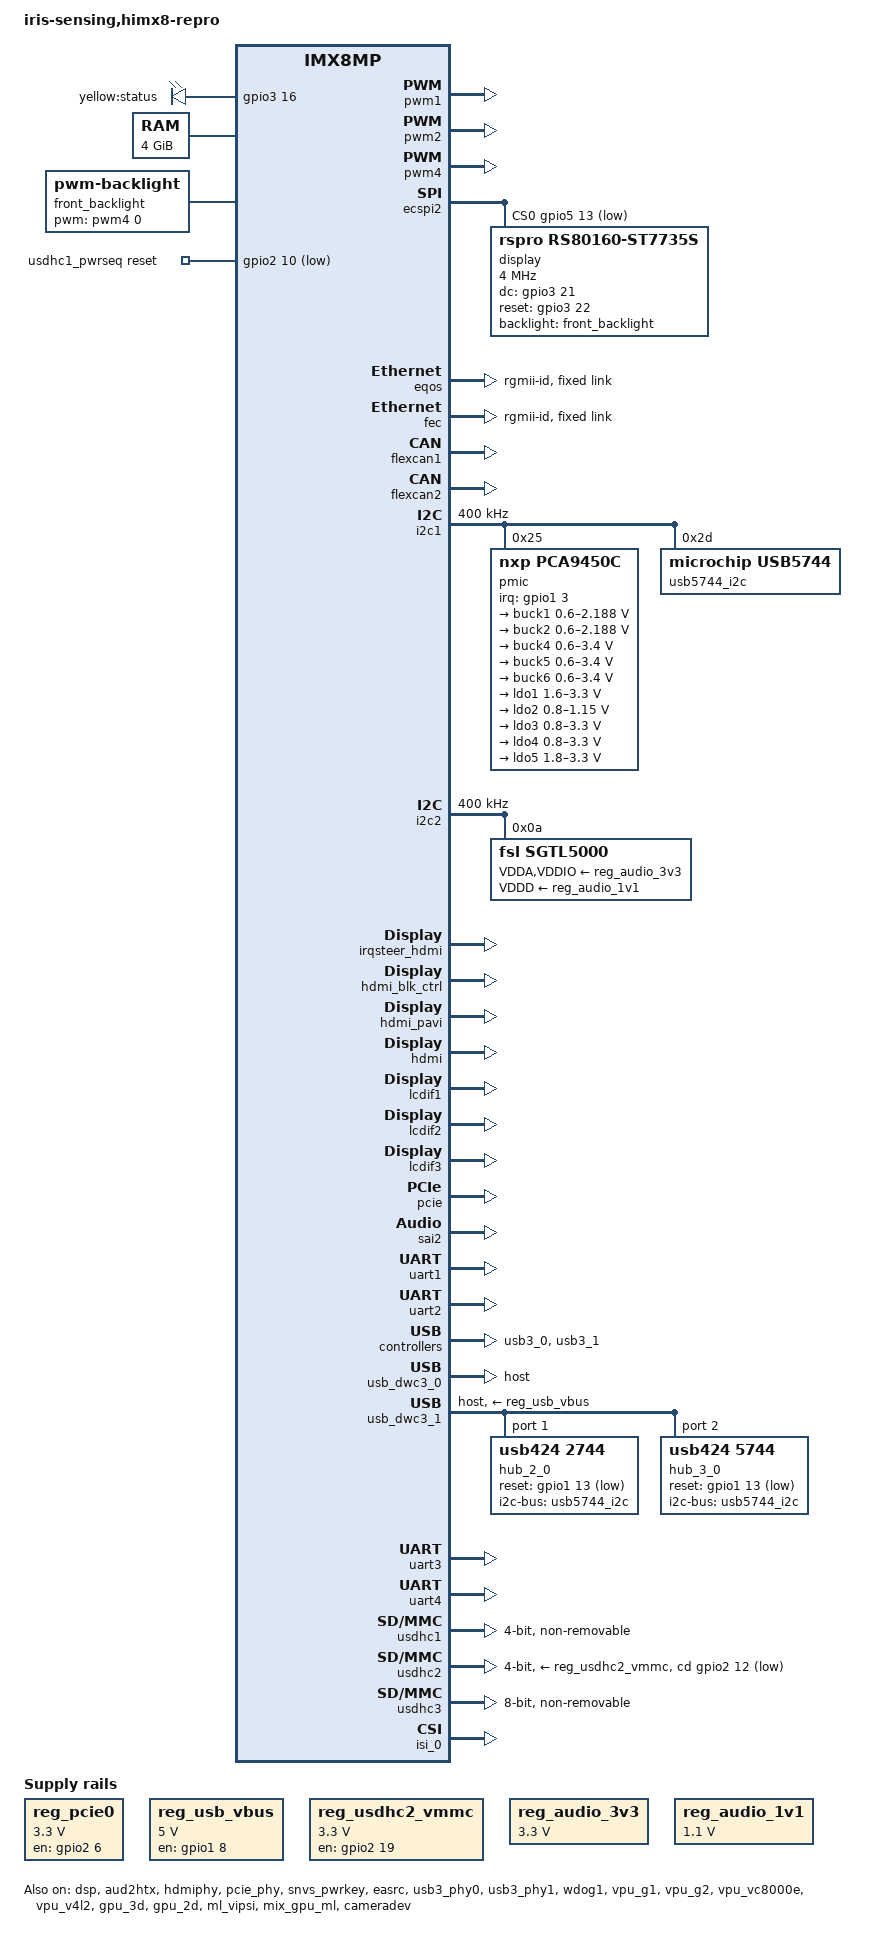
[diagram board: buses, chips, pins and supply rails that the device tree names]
// SPDX-License-Identifier: (GPL-2.0+ OR MIT)
/*
 * Copyright 2019 NXP
 */

/dts-v1/;

#include <dt-bindings/phy/phy-imx8-pcie.h>
#include <dt-bindings/usb/pd.h>
#include "imx8mp.dtsi"

/ {
	model = "iris-sensing,himx8-repro";
	compatible = "fsl,imx8mp-evk", "fsl,imx8mp";

	chosen {
		stdout-path = &uart2;
	};

	gpio-leds {
		compatible = "gpio-leds";
		pinctrl-names = "default";
		pinctrl-0 = <&pinctrl_gpio_led>;

		status {
			label = "yellow:status";
			gpios = <&gpio3 16 GPIO_ACTIVE_HIGH>;
			default-state = "on";
		};
	};

	memory@40000000 {
		device_type = "memory";
		reg = <0x0 0x40000000 0 0xc0000000>,
		      <0x1 0x00000000 0 0x40000000>;
	};

	reg_pcie0: regulator-pcie {
		compatible = "regulator-fixed";
		pinctrl-names = "default";
		pinctrl-0 = <&pinctrl_pcie0_reg>;
		regulator-name = "MPCIE_3V3";
		regulator-min-microvolt = <3300000>;
		regulator-max-microvolt = <3300000>;
		gpio = <&gpio2 6 GPIO_ACTIVE_HIGH>;
		enable-active-high;
		regulator-always-on;
	};

	reg_usb_vbus: regulator-vbus {
		compatible = "regulator-fixed";
		pinctrl-names = "default";
		pinctrl-0 = <&pinctrl_usb1_vbus>;
		regulator-name = "USB_VBUS";
		regulator-min-microvolt = <5000000>;
		regulator-max-microvolt = <5000000>;
		gpio = <&gpio1 8 GPIO_ACTIVE_HIGH>;
		enable-active-high;
		regulator-always-on;
	};

	reg_usdhc2_vmmc: regulator-usdhc2 {
		compatible = "regulator-fixed";
		pinctrl-names = "default";
		pinctrl-0 = <&pinctrl_reg_usdhc2_vmmc>;
		regulator-name = "VSD_3V3";
		regulator-min-microvolt = <3300000>;
		regulator-max-microvolt = <3300000>;
		gpio = <&gpio2 19 GPIO_ACTIVE_HIGH>;
		enable-active-high;
	};

	reg_audio_3v3: regulator-audio-3v3 {
		compatible = "regulator-fixed";
		regulator-name = "audio-3v3";
		regulator-min-microvolt = <3300000>;
		regulator-max-microvolt = <3300000>;
		regulator-always-on;
	};

	reg_audio_1v1: regulator-audio-1v1 {
		compatible = "regulator-fixed";
		regulator-name = "audio-1v1";
		regulator-min-microvolt = <1100000>;
		regulator-max-microvolt = <1100000>;
		regulator-always-on;
	};

	sound {
		compatible = "simple-audio-card";
		simple-audio-card,name = "sgtl5000";
		simple-audio-card,format = "i2s";
		simple-audio-card,mclk-fs = <256>;
		simple-audio-card,frame-master = <&dailink_cpu>;
		simple-audio-card,bitclock-master = <&dailink_cpu>;
		simple-audio-card,widgets = "Line", "Line In", "Line", "Line Out";
		simple-audio-card,routing = "LINE_IN",  "Line In", "Line Out", "LINE_OUT";

		dailink_cpu: simple-audio-card,cpu {
			sound-dai = <&sai2>;
		};

		simple-audio-card,codec {
			sound-dai = <&sgtl5000>;
		};
	};

	front_backlight: front_backlight {
		compatible = "pwm-backlight";
		pwms = <&pwm4 0 10000000 0>;
		status = "okay";

		brightness-levels = < 0  1  2  3  4  5  6  7  8  9
				     10 11 12 13 14 15 16 17 18 19
				     20 21 22 23 24 25 26 27 28 29
				     30 31 32 33 34 35 36 37 38 39
				     40 41 42 43 44 45 46 47 48 49
				     50 51 52 53 54 55 56 57 58 59
				     60 61 62 63 64 65 66 67 68 69
				     70 71 72 73 74 75 76 77 78 79
				     80 81 82 83 84 85 86 87 88 89
				     90 91 92 93 94 95 96 97 98 99
				    100>;
		default-brightness-level = <80>;
	};

	usdhc1_pwrseq: usdhc1_pwrseq {
		compatible = "mmc-pwrseq-simple";
		pinctrl-names = "default";
		pinctrl-0 = <&pinctrl_usdhc1_pwrseq>;
		reset-gpios = <&gpio2 10 GPIO_ACTIVE_LOW>;
	};
};

&A53_0 {
	cpu-supply = <&buck2>;
};

&A53_1 {
	cpu-supply = <&buck2>;
};

&A53_2 {
	cpu-supply = <&buck2>;
};

&A53_3 {
	cpu-supply = <&buck2>;
};

&dsp {
	status = "okay";
};

&pwm1 {
	pinctrl-names = "default";
	pinctrl-0 = <&pinctrl_pwm1>;
	status = "okay";
};

&pwm2 {
	pinctrl-names = "default";
	pinctrl-0 = <&pinctrl_pwm2>;
	status = "okay";
};

&pwm4 {
	pinctrl-names = "default";
	pinctrl-0 = <&pinctrl_pwm4>;
	status = "okay";
};

&aud2htx {
	status = "okay";
};

&ecspi2 {
	#address-cells = <1>;
	#size-cells = <0>;
	fsl,spi-num-chipselects = <1>;
	pinctrl-names = "default";
	pinctrl-0 = <&pinctrl_ecspi2 &pinctrl_ecspi2_cs>;
	cs-gpios = <&gpio5 13 GPIO_ACTIVE_LOW>;
	status = "okay";

	display@0 {
		reg = <0>;
		compatible = "rspro,rs80160-st7735s";
		spi-max-frequency = <4000000>;

		dc-gpios = <&gpio3 21 GPIO_ACTIVE_HIGH>;
		reset-gpios = <&gpio3 22 GPIO_ACTIVE_HIGH>;
		write-only;

		backlight = <&front_backlight>;

		width-mm = <22>;
		height-mm = <11>;

		panel-timing {
			hactive = <160>;
			vactive = <80>;
			hback-porch = <0>;
			vback-porch = <0>;
			clock-frequency = <0>;
			hfront-porch = <0>;
			hsync-len = <0>;
			vfront-porch = <0>;
			vsync-len = <0>;
		};
	};
};

&eqos {
	pinctrl-names = "default";
	pinctrl-0 = <&pinctrl_eqos>;
	phy-mode = "rgmii-id";
	status = "okay";

	fixed-link {
		speed = <1000>;
		full-duplex;
		pause;
		asym-pause;
	};
	mdio {
		compatible = "snps,dwmac-mdio";
		#address-cells = <1>;
		#size-cells = <0>;
	};
};

&fec {
	pinctrl-names = "default";
	pinctrl-0 = <&pinctrl_fec>;
	phy-mode = "rgmii-id";
	status = "okay";
	fsl,magic-packet;

	fixed-link {
		speed = <1000>;
		full-duplex;
		pause;
		asym-pause;
	};
};

&flexcan1 {
	pinctrl-names = "default";
	pinctrl-0 = <&pinctrl_flexcan1>;
	status = "okay";
};

&flexcan2 {
	pinctrl-names = "default";
	pinctrl-0 = <&pinctrl_flexcan2>;
	status = "okay";
};

&i2c1 {
	clock-frequency = <400000>;
	pinctrl-names = "default";
	pinctrl-0 = <&pinctrl_i2c1>;
	status = "okay";

	pmic@25 {
		compatible = "nxp,pca9450c";
		reg = <0x25>;
		pinctrl-names = "default";
		pinctrl-0 = <&pinctrl_pmic>;
		interrupt-parent = <&gpio1>;
		interrupts = <3 IRQ_TYPE_LEVEL_LOW>;

		regulators {
			buck1: BUCK1 {
				regulator-name = "BUCK1";
				regulator-min-microvolt = <600000>;
				regulator-max-microvolt = <2187500>;
				regulator-boot-on;
				regulator-always-on;
				regulator-ramp-delay = <3125>;
			};

			buck2: BUCK2 {
				regulator-name = "BUCK2";
				regulator-min-microvolt = <600000>;
				regulator-max-microvolt = <2187500>;
				regulator-boot-on;
				regulator-always-on;
				regulator-ramp-delay = <3125>;
				nxp,dvs-run-voltage = <950000>;
				nxp,dvs-standby-voltage = <850000>;
			};

			buck4: BUCK4{
				regulator-name = "BUCK4";
				regulator-min-microvolt = <600000>;
				regulator-max-microvolt = <3400000>;
				regulator-boot-on;
				regulator-always-on;
			};

			buck5: BUCK5{
				regulator-name = "BUCK5";
				regulator-min-microvolt = <600000>;
				regulator-max-microvolt = <3400000>;
				regulator-boot-on;
				regulator-always-on;
			};

			buck6: BUCK6 {
				regulator-name = "BUCK6";
				regulator-min-microvolt = <600000>;
				regulator-max-microvolt = <3400000>;
				regulator-boot-on;
				regulator-always-on;
			};

			ldo1: LDO1 {
				regulator-name = "LDO1";
				regulator-min-microvolt = <1600000>;
				regulator-max-microvolt = <3300000>;
				regulator-boot-on;
				regulator-always-on;
			};

			ldo2: LDO2 {
				regulator-name = "LDO2";
				regulator-min-microvolt = <800000>;
				regulator-max-microvolt = <1150000>;
				regulator-boot-on;
				regulator-always-on;
			};

			ldo3: LDO3 {
				regulator-name = "LDO3";
				regulator-min-microvolt = <800000>;
				regulator-max-microvolt = <3300000>;
				regulator-boot-on;
				regulator-always-on;
			};

			ldo4: LDO4 {
				regulator-name = "LDO4";
				regulator-min-microvolt = <800000>;
				regulator-max-microvolt = <3300000>;
				regulator-boot-on;
				regulator-always-on;
			};

			ldo5: LDO5 {
				regulator-name = "LDO5";
				regulator-min-microvolt = <1800000>;
				regulator-max-microvolt = <3300000>;
				regulator-boot-on;
				regulator-always-on;
			};
		};
	};

        usb5744_i2c: hub@2d {
                compatible = "microchip,usb5744";
                reg = <0x2d>;
        };
};

&i2c2 {
	clock-frequency = <400000>;
	pinctrl-names = "default";
	pinctrl-0 = <&pinctrl_i2c2>;
	status = "okay";

	sgtl5000: codec@a {
		compatible = "fsl,sgtl5000";
		reg = <0x0a>;
		#sound-dai-cells = <0>;
		clocks = <&audio_blk_ctrl IMX8MP_CLK_AUDIOMIX_SAI2_MCLK1>;
		clock-names = "sys_mclk";
		VDDA-supply = <&reg_audio_3v3>;
		VDDIO-supply = <&reg_audio_3v3>;
		VDDD-supply = <&reg_audio_1v1>;
	};
};

&irqsteer_hdmi {
	status = "okay";
};

&hdmi_blk_ctrl {
	status = "okay";
};

&hdmi_pavi {
	status = "okay";
};

&hdmi {
	status = "okay";
};

&hdmiphy {
	status = "okay";
};

&lcdif1 {
	status = "okay";
};

&lcdif2 {
	status = "okay";
};

&lcdif3 {
	status = "okay";

	thres-low  = <1 2>;             /* (FIFO * 1 / 2) */
	thres-high = <3 4>;             /* (FIFO * 3 / 4) */
};

&pcie_phy {
	fsl,refclk-pad-mode = <IMX8_PCIE_REFCLK_PAD_OUTPUT>;
	clocks = <&hsio_blk_ctrl>;
	clock-names = "ref";
	fsl,clkreq-unsupported;
	status = "okay";
};

&pcie {
#if 0
	pinctrl-names = "default";
	pinctrl-0 = <&pinctrl_pcie0>;
	reset-gpio = <&gpio2 7 GPIO_ACTIVE_LOW>;
	vpcie-supply = <&reg_pcie0>;
#endif
	status = "okay";
};

&sai2 {
	#sound-dai-cells = <0>;
	pinctrl-names = "default";
	pinctrl-0 = <&pinctrl_sai2>;
	assigned-clocks = <&clk IMX8MP_CLK_SAI2>;
	assigned-clock-parents = <&clk IMX8MP_AUDIO_PLL1_OUT>;
	assigned-clock-rates = <12288000>;
	clocks = <&audio_blk_ctrl IMX8MP_CLK_AUDIOMIX_SAI2_IPG>,
		 <&clk IMX8MP_CLK_DUMMY>,
		 <&audio_blk_ctrl IMX8MP_CLK_AUDIOMIX_SAI2_MCLK1>,
		 <&clk IMX8MP_CLK_DUMMY>,
		 <&clk IMX8MP_CLK_DUMMY>;
	clock-names = "bus", "mclk0", "mclk1", "mclk2", "mclk3";
	fsl,sai-mclk-direction-output;
	fsl,sai-mclk-always-on;
	status = "okay";
};

&snvs_pwrkey {
	status = "okay";
};

&easrc {
	fsl,asrc-rate  = <48000>;
	status = "okay";
};

&sdma2 {
	status = "okay";
};

&uart1 {
	pinctrl-names = "default";
	pinctrl-0 = <&pinctrl_uart1>;
	assigned-clocks = <&clk IMX8MP_CLK_UART1>;
	assigned-clock-parents = <&clk IMX8MP_SYS_PLL1_80M>;
	status = "okay";
};


&uart2 {
	/* console */
	pinctrl-names = "default";
	pinctrl-0 = <&pinctrl_uart2>;
	status = "okay";
};

&usb3_phy0 {
	fsl,phy-tx-vref-tune-percent = <122>;
	fsl,phy-tx-preemp-amp-tune-microamp = <1800>;
	fsl,phy-tx-vboost-level-microvolt = <1156>;
	fsl,phy-comp-dis-tune-percent = <115>;
	fsl,phy-pcs-tx-deemph-3p5db-attenuation-db = <33>;
	fsl,phy-pcs-tx-swing-full-percent = <100>;
	status = "okay";
};

&usb3_0 {
	status = "okay";
};

&usb_dwc3_0 {
	dr_mode = "host";
	hnp-disable;
	srp-disable;
	adp-disable;
	usb-role-switch;
	role-switch-default-mode = "none";
	snps,dis-u1-entry-quirk;
	snps,dis-u2-entry-quirk;
	status = "okay";
};

&usb3_phy1 {
	fsl,phy-tx-preemp-amp-tune-microamp = <1800>;
	fsl,phy-tx-vref-tune-percent = <116>;
	status = "okay";
};

&usb3_1 {
	status = "okay";
};

&usb_dwc3_1 {
	vbus-supply = <&reg_usb_vbus>;
	dr_mode = "host";
	status = "okay";

        #address-cells = <1>;
        #size-cells = <0>;

        /* USB2 Hub */
        hub_2_0: hub@1 {
                compatible = "usb424,2744";
                reg = <1>;

                i2c-bus = <&usb5744_i2c>;
                peer-hub = <&hub_3_0>;

                reset-gpios = <&gpio1 13 GPIO_ACTIVE_LOW>;
                power-on-delay-us = <2000>;
        };

        /* USB3 Hub */
        hub_3_0: hub@2 {
                compatible = "usb424,5744";
                reg = <2>;

                i2c-bus = <&usb5744_i2c>;
                peer-hub = <&hub_2_0>;

                reset-gpios = <&gpio1 13 GPIO_ACTIVE_LOW>;
                power-on-delay-us = <2000>;
        };
};

&uart3 {
	pinctrl-names = "default";
	pinctrl-0 = <&pinctrl_uart3>;
	assigned-clocks = <&clk IMX8MP_CLK_UART3>;
	assigned-clock-parents = <&clk IMX8MP_SYS_PLL1_80M>;
	status = "okay";
};

&uart4 {
	pinctrl-names = "default";
	pinctrl-0 = <&pinctrl_uart4>;
	assigned-clocks = <&clk IMX8MP_CLK_UART4>;
	assigned-clock-parents = <&clk IMX8MP_SYS_PLL1_80M>;
	uart-has-rtscts;
	status = "okay";
};

&usdhc1 {
	pinctrl-names = "default", "state_100mhz", "state_200mhz";
	pinctrl-0 = <&pinctrl_usdhc1>;
	pinctrl-1 = <&pinctrl_usdhc1_100mhz>;
	pinctrl-2 = <&pinctrl_usdhc1_200mhz>;
	bus-width = <4>;
	non-removable;
	status = "okay";
	mmc-pwrseq = <&usdhc1_pwrseq>;
};

&usdhc2 {
	assigned-clocks = <&clk IMX8MP_CLK_USDHC2>;
	assigned-clock-rates = <400000000>;
	pinctrl-names = "default", "state_100mhz", "state_200mhz";
	pinctrl-0 = <&pinctrl_usdhc2>, <&pinctrl_usdhc2_gpio>;
	pinctrl-1 = <&pinctrl_usdhc2_100mhz>, <&pinctrl_usdhc2_gpio>;
	pinctrl-2 = <&pinctrl_usdhc2_200mhz>, <&pinctrl_usdhc2_gpio>;
	cd-gpios = <&gpio2 12 GPIO_ACTIVE_LOW>;
	vmmc-supply = <&reg_usdhc2_vmmc>;
	bus-width = <4>;
	status = "okay";
};

&usdhc3 {
	assigned-clocks = <&clk IMX8MP_CLK_USDHC3>;
	assigned-clock-rates = <400000000>;
	pinctrl-names = "default", "state_100mhz", "state_200mhz";
	pinctrl-0 = <&pinctrl_usdhc3>;
	pinctrl-1 = <&pinctrl_usdhc3_100mhz>;
	pinctrl-2 = <&pinctrl_usdhc3_200mhz>;
	bus-width = <8>;
	non-removable;
	status = "okay";
};

&wdog1 {
	pinctrl-names = "default";
	pinctrl-0 = <&pinctrl_wdog>;
	fsl,ext-reset-output;
	status = "okay";
};

&iomuxc {
	pinctrl-names = "default";
	pinctrl-0 = <&pinctrl_hog>;

	pinctrl_hog: hoggrp {
		fsl,pins = <
			MX8MP_IOMUXC_HDMI_DDC_SCL__HDMIMIX_HDMI_SCL	0x400001c2
			MX8MP_IOMUXC_HDMI_DDC_SDA__HDMIMIX_HDMI_SDA	0x400001c2
			MX8MP_IOMUXC_HDMI_HPD__HDMIMIX_HDMI_HPD		0x40000010
			MX8MP_IOMUXC_HDMI_CEC__HDMIMIX_HDMI_CEC		0x40000010
			MX8MP_IOMUXC_GPIO1_IO13__GPIO1_IO13		0x19
			MX8MP_IOMUXC_NAND_CE0_B__GPIO3_IO01		0x1c4 /* #GPS_SHDN */
			MX8MP_IOMUXC_NAND_DQS__GPIO3_IO14		0x1c4 /* #GPS_IRQ */
			MX8MP_IOMUXC_ECSPI1_MOSI__GPIO5_IO07		0x1c4 /* LNA_EN */
			MX8MP_IOMUXC_SAI5_RXD0__GPIO3_IO21		0x116 /* TFT_RS */
			MX8MP_IOMUXC_SAI5_RXD1__GPIO3_IO22		0x116 /* #TFT_RST */
			MX8MP_IOMUXC_SAI3_TXD__GPIO5_IO01		0x80  /* #E_LEDP1 */
			MX8MP_IOMUXC_SAI3_RXFS__GPIO4_IO28		0x80  /* #E_LEDP2 */
			MX8MP_IOMUXC_SAI3_MCLK__GPIO5_IO02		0x80  /* #E_LEDP3 */
			MX8MP_IOMUXC_SPDIF_RX__GPIO5_IO04		0x80  /* #E_LEDP4 */
		>;
	};

	pinctrl_pwm1: pwm1grp {
		fsl,pins = <
			MX8MP_IOMUXC_GPIO1_IO01__PWM1_OUT	0x116
		>;
	};

	pinctrl_pwm2: pwm2grp {
		fsl,pins = <
			MX8MP_IOMUXC_GPIO1_IO11__PWM2_OUT	0x116
		>;
	};

	pinctrl_pwm4: pwm4grp {
		fsl,pins = <
			MX8MP_IOMUXC_SAI5_RXFS__PWM4_OUT	0x116
		>;
	};

	pinctrl_ecspi2: ecspi2grp {
		fsl,pins = <
			MX8MP_IOMUXC_ECSPI2_SCLK__ECSPI2_SCLK		0x82
			MX8MP_IOMUXC_ECSPI2_MOSI__ECSPI2_MOSI		0x82
			MX8MP_IOMUXC_ECSPI2_MISO__ECSPI2_MISO		0x82
		>;
	};

	pinctrl_ecspi2_cs: ecspi2cs {
		fsl,pins = <
			MX8MP_IOMUXC_ECSPI2_SS0__GPIO5_IO13		0x40000
		>;
	};

	pinctrl_eqos: eqosgrp {
		fsl,pins = <
			MX8MP_IOMUXC_ENET_MDC__ENET_QOS_MDC				0x2
			MX8MP_IOMUXC_ENET_MDIO__ENET_QOS_MDIO				0x2
			MX8MP_IOMUXC_ENET_RD0__ENET_QOS_RGMII_RD0			0x90
			MX8MP_IOMUXC_ENET_RD1__ENET_QOS_RGMII_RD1			0x90
			MX8MP_IOMUXC_ENET_RD2__ENET_QOS_RGMII_RD2			0x90
			MX8MP_IOMUXC_ENET_RD3__ENET_QOS_RGMII_RD3			0x90
			MX8MP_IOMUXC_ENET_RXC__CCM_ENET_QOS_CLOCK_GENERATE_RX_CLK	0x90
			MX8MP_IOMUXC_ENET_RX_CTL__ENET_QOS_RGMII_RX_CTL			0x90
			MX8MP_IOMUXC_ENET_TD0__ENET_QOS_RGMII_TD0			0x16
			MX8MP_IOMUXC_ENET_TD1__ENET_QOS_RGMII_TD1			0x16
			MX8MP_IOMUXC_ENET_TD2__ENET_QOS_RGMII_TD2			0x16
			MX8MP_IOMUXC_ENET_TD3__ENET_QOS_RGMII_TD3			0x16
			MX8MP_IOMUXC_ENET_TX_CTL__ENET_QOS_RGMII_TX_CTL			0x16
			MX8MP_IOMUXC_ENET_TXC__CCM_ENET_QOS_CLOCK_GENERATE_TX_CLK	0x16
			MX8MP_IOMUXC_SAI1_RXC__GPIO4_IO01				0x10
		>;
	};

	pinctrl_fec: fecgrp {
		fsl,pins = <
#if 0
			MX8MP_IOMUXC_SAI1_RXD2__ENET1_MDC		0x2
			MX8MP_IOMUXC_SAI1_RXD3__ENET1_MDIO		0x2
#endif
			MX8MP_IOMUXC_SAI1_RXD4__ENET1_RGMII_RD0		0x90
			MX8MP_IOMUXC_SAI1_RXD5__ENET1_RGMII_RD1		0x90
			MX8MP_IOMUXC_SAI1_RXD6__ENET1_RGMII_RD2		0x90
			MX8MP_IOMUXC_SAI1_RXD7__ENET1_RGMII_RD3		0x90
			MX8MP_IOMUXC_SAI1_TXC__ENET1_RGMII_RXC		0x90
			MX8MP_IOMUXC_SAI1_TXFS__ENET1_RGMII_RX_CTL	0x90
			MX8MP_IOMUXC_SAI1_TXD0__ENET1_RGMII_TD0		0x16
			MX8MP_IOMUXC_SAI1_TXD1__ENET1_RGMII_TD1		0x16
			MX8MP_IOMUXC_SAI1_TXD2__ENET1_RGMII_TD2		0x16
			MX8MP_IOMUXC_SAI1_TXD3__ENET1_RGMII_TD3		0x16
			MX8MP_IOMUXC_SAI1_TXD4__ENET1_RGMII_TX_CTL	0x16
			MX8MP_IOMUXC_SAI1_TXD5__ENET1_RGMII_TXC		0x16
#if 0
			MX8MP_IOMUXC_SAI1_RXD0__GPIO4_IO02		0x10
#endif
		>;
	};

	pinctrl_flexcan1: flexcan1grp {
		fsl,pins = <
			MX8MP_IOMUXC_SAI5_RXD2__CAN1_RX         0x154
			MX8MP_IOMUXC_SAI2_RXC__CAN1_TX          0x154
		>;
	};

	pinctrl_flexcan2: flexcan2grp {
		fsl,pins = <
			MX8MP_IOMUXC_SAI5_MCLK__CAN2_RX         0x154
			MX8MP_IOMUXC_SAI5_RXD3__CAN2_TX         0x154
		>;
	};

	pinctrl_gpio_led: gpioledgrp {
		fsl,pins = <
			MX8MP_IOMUXC_NAND_READY_B__GPIO3_IO16	0x140
		>;
	};

	pinctrl_i2c1: i2c1grp {
		fsl,pins = <
			MX8MP_IOMUXC_I2C1_SCL__I2C1_SCL		0x400001c2
			MX8MP_IOMUXC_I2C1_SDA__I2C1_SDA		0x400001c2
		>;
	};

	pinctrl_i2c2: i2c2grp {
		fsl,pins = <
			MX8MP_IOMUXC_I2C2_SCL__I2C2_SCL		0x400001c2
			MX8MP_IOMUXC_I2C2_SDA__I2C2_SDA		0x400001c2
		>;
	};

#if 0
	pinctrl_pcie0: pcie0grp {
		fsl,pins = <
			MX8MP_IOMUXC_SD1_DATA5__GPIO2_IO07	0x40
		>;
	};
#endif
	pinctrl_pcie0_reg: pcie0reggrp {
		fsl,pins = <
			MX8MP_IOMUXC_SD1_DATA4__GPIO2_IO06	0x40
		>;
	};

	pinctrl_pmic: pmicgrp {
		fsl,pins = <
			MX8MP_IOMUXC_GPIO1_IO03__GPIO1_IO03	0x000001c0
		>;
	};

	pinctrl_reg_usdhc2_vmmc: regusdhc2vmmcgrp {
		fsl,pins = <
			MX8MP_IOMUXC_SD2_RESET_B__GPIO2_IO19	0x40
		>;
	};

	pinctrl_sai2: sai2grp {
		fsl,pins = <
			MX8MP_IOMUXC_SAI2_MCLK__AUDIOMIX_SAI2_MCLK	0xd6
			MX8MP_IOMUXC_SAI2_TXC__AUDIOMIX_SAI2_TX_BCLK	0xd6
			MX8MP_IOMUXC_SAI2_TXFS__AUDIOMIX_SAI2_TX_SYNC	0xd6
			MX8MP_IOMUXC_SAI2_TXD0__AUDIOMIX_SAI2_TX_DATA00	0xd6
			MX8MP_IOMUXC_SAI2_RXD0__AUDIOMIX_SAI2_RX_DATA00	0xd6
		>;
	};

	pinctrl_uart1: uart1grp {
		fsl,pins = <
			MX8MP_IOMUXC_UART1_RXD__UART1_DCE_RX	0x140
			MX8MP_IOMUXC_UART1_TXD__UART1_DCE_TX	0x140
		>;
	};

	pinctrl_uart2: uart2grp {
		fsl,pins = <
			MX8MP_IOMUXC_UART2_RXD__UART2_DCE_RX	0x140
			MX8MP_IOMUXC_UART2_TXD__UART2_DCE_TX	0x140
		>;
	};

	pinctrl_usb1_vbus: usb1grp {
		fsl,pins = <
			MX8MP_IOMUXC_GPIO1_IO08__GPIO1_IO08		0x10
		>;
	};

	pinctrl_uart3: uart3grp {
		fsl,pins = <
			MX8MP_IOMUXC_UART3_RXD__UART3_DCE_RX		0x140
			MX8MP_IOMUXC_UART3_TXD__UART3_DCE_TX		0x140
		>;
	};

	pinctrl_uart4: uart4grp {
		fsl,pins = <
			MX8MP_IOMUXC_NAND_DATA00__UART4_DCE_RX		0x140
			MX8MP_IOMUXC_NAND_DATA01__UART4_DCE_TX		0x140
			MX8MP_IOMUXC_NAND_DATA02__UART4_DCE_CTS		0x140
			MX8MP_IOMUXC_NAND_DATA03__UART4_DCE_RTS		0x140
		>;
	};

	pinctrl_usdhc1_pwrseq: usdhc1pwrseq {
		fsl,pins = <
			MX8MP_IOMUXC_SD1_RESET_B__GPIO2_IO10		0x140
		>;
	};

	pinctrl_usdhc1: usdhc1grp {
		fsl,pins = <
			MX8MP_IOMUXC_SD1_CLK__USDHC1_CLK		0x190
			MX8MP_IOMUXC_SD1_CMD__USDHC1_CMD		0x1d0
			MX8MP_IOMUXC_SD1_DATA0__USDHC1_DATA0		0x1d0
			MX8MP_IOMUXC_SD1_DATA1__USDHC1_DATA1		0x1d0
			MX8MP_IOMUXC_SD1_DATA2__USDHC1_DATA2		0x1d0
			MX8MP_IOMUXC_SD1_DATA3__USDHC1_DATA3		0x1d0
		>;
	};

	pinctrl_usdhc1_100mhz: usdhc1-100mhzgrp {
		fsl,pins = <
			MX8MP_IOMUXC_SD1_CLK__USDHC1_CLK		0x194
			MX8MP_IOMUXC_SD1_CMD__USDHC1_CMD		0x1d4
			MX8MP_IOMUXC_SD1_DATA0__USDHC1_DATA0		0x1d4
			MX8MP_IOMUXC_SD1_DATA1__USDHC1_DATA1		0x1d4
			MX8MP_IOMUXC_SD1_DATA2__USDHC1_DATA2		0x1d4
			MX8MP_IOMUXC_SD1_DATA3__USDHC1_DATA3		0x1d4
		>;
	};

	pinctrl_usdhc1_200mhz: usdhc1-200mhzgrp {
		fsl,pins = <
			MX8MP_IOMUXC_SD1_CLK__USDHC1_CLK		0x196
			MX8MP_IOMUXC_SD1_CMD__USDHC1_CMD		0x1d6
			MX8MP_IOMUXC_SD1_DATA0__USDHC1_DATA0		0x1d6
			MX8MP_IOMUXC_SD1_DATA1__USDHC1_DATA1		0x1d6
			MX8MP_IOMUXC_SD1_DATA2__USDHC1_DATA2		0x1d6
			MX8MP_IOMUXC_SD1_DATA3__USDHC1_DATA3		0x1d6
		>;
	};

	pinctrl_usdhc2: usdhc2grp {
		fsl,pins = <
			MX8MP_IOMUXC_SD2_CLK__USDHC2_CLK	0x190
			MX8MP_IOMUXC_SD2_CMD__USDHC2_CMD	0x1d0
			MX8MP_IOMUXC_SD2_DATA0__USDHC2_DATA0	0x1d0
			MX8MP_IOMUXC_SD2_DATA1__USDHC2_DATA1	0x1d0
			MX8MP_IOMUXC_SD2_DATA2__USDHC2_DATA2	0x1d0
			MX8MP_IOMUXC_SD2_DATA3__USDHC2_DATA3	0x1d0
			MX8MP_IOMUXC_GPIO1_IO04__USDHC2_VSELECT	0xc0
		>;
	};

	pinctrl_usdhc2_100mhz: usdhc2-100mhzgrp {
		fsl,pins = <
			MX8MP_IOMUXC_SD2_CLK__USDHC2_CLK	0x194
			MX8MP_IOMUXC_SD2_CMD__USDHC2_CMD	0x1d4
			MX8MP_IOMUXC_SD2_DATA0__USDHC2_DATA0	0x1d4
			MX8MP_IOMUXC_SD2_DATA1__USDHC2_DATA1	0x1d4
			MX8MP_IOMUXC_SD2_DATA2__USDHC2_DATA2	0x1d4
			MX8MP_IOMUXC_SD2_DATA3__USDHC2_DATA3	0x1d4
			MX8MP_IOMUXC_GPIO1_IO04__USDHC2_VSELECT 0xc0
		>;
	};

	pinctrl_usdhc2_200mhz: usdhc2-200mhzgrp {
		fsl,pins = <
			MX8MP_IOMUXC_SD2_CLK__USDHC2_CLK	0x196
			MX8MP_IOMUXC_SD2_CMD__USDHC2_CMD	0x1d6
			MX8MP_IOMUXC_SD2_DATA0__USDHC2_DATA0	0x1d6
			MX8MP_IOMUXC_SD2_DATA1__USDHC2_DATA1	0x1d6
			MX8MP_IOMUXC_SD2_DATA2__USDHC2_DATA2	0x1d6
			MX8MP_IOMUXC_SD2_DATA3__USDHC2_DATA3	0x1d6
			MX8MP_IOMUXC_GPIO1_IO04__USDHC2_VSELECT 0xc0
		>;
	};

	pinctrl_usdhc2_gpio: usdhc2gpiogrp {
		fsl,pins = <
			MX8MP_IOMUXC_SD2_CD_B__GPIO2_IO12	0x1c4
		>;
	};

	pinctrl_usdhc3: usdhc3grp {
		fsl,pins = <
			MX8MP_IOMUXC_NAND_WE_B__USDHC3_CLK	0x190
			MX8MP_IOMUXC_NAND_WP_B__USDHC3_CMD	0x1d0
			MX8MP_IOMUXC_NAND_DATA04__USDHC3_DATA0	0x1d0
			MX8MP_IOMUXC_NAND_DATA05__USDHC3_DATA1	0x1d0
			MX8MP_IOMUXC_NAND_DATA06__USDHC3_DATA2	0x1d0
			MX8MP_IOMUXC_NAND_DATA07__USDHC3_DATA3	0x1d0
			MX8MP_IOMUXC_NAND_RE_B__USDHC3_DATA4	0x1d0
			MX8MP_IOMUXC_NAND_CE2_B__USDHC3_DATA5	0x1d0
			MX8MP_IOMUXC_NAND_CE3_B__USDHC3_DATA6	0x1d0
			MX8MP_IOMUXC_NAND_CLE__USDHC3_DATA7	0x1d0
			MX8MP_IOMUXC_NAND_CE1_B__USDHC3_STROBE	0x190
		>;
	};

	pinctrl_usdhc3_100mhz: usdhc3-100mhzgrp {
		fsl,pins = <
			MX8MP_IOMUXC_NAND_WE_B__USDHC3_CLK	0x194
			MX8MP_IOMUXC_NAND_WP_B__USDHC3_CMD	0x1d4
			MX8MP_IOMUXC_NAND_DATA04__USDHC3_DATA0	0x1d4
			MX8MP_IOMUXC_NAND_DATA05__USDHC3_DATA1	0x1d4
			MX8MP_IOMUXC_NAND_DATA06__USDHC3_DATA2	0x1d4
			MX8MP_IOMUXC_NAND_DATA07__USDHC3_DATA3	0x1d4
			MX8MP_IOMUXC_NAND_RE_B__USDHC3_DATA4	0x1d4
			MX8MP_IOMUXC_NAND_CE2_B__USDHC3_DATA5	0x1d4
			MX8MP_IOMUXC_NAND_CE3_B__USDHC3_DATA6	0x1d4
			MX8MP_IOMUXC_NAND_CLE__USDHC3_DATA7	0x1d4
			MX8MP_IOMUXC_NAND_CE1_B__USDHC3_STROBE	0x194
		>;
	};

	pinctrl_usdhc3_200mhz: usdhc3-200mhzgrp {
		fsl,pins = <
			MX8MP_IOMUXC_NAND_WE_B__USDHC3_CLK	0x196
			MX8MP_IOMUXC_NAND_WP_B__USDHC3_CMD	0x1d6
			MX8MP_IOMUXC_NAND_DATA04__USDHC3_DATA0	0x1d6
			MX8MP_IOMUXC_NAND_DATA05__USDHC3_DATA1	0x1d6
			MX8MP_IOMUXC_NAND_DATA06__USDHC3_DATA2	0x1d6
			MX8MP_IOMUXC_NAND_DATA07__USDHC3_DATA3	0x1d6
			MX8MP_IOMUXC_NAND_RE_B__USDHC3_DATA4	0x1d6
			MX8MP_IOMUXC_NAND_CE2_B__USDHC3_DATA5	0x1d6
			MX8MP_IOMUXC_NAND_CE3_B__USDHC3_DATA6	0x1d6
			MX8MP_IOMUXC_NAND_CLE__USDHC3_DATA7	0x1d6
			MX8MP_IOMUXC_NAND_CE1_B__USDHC3_STROBE	0x196
		>;
	};

	pinctrl_wdog: wdoggrp {
		fsl,pins = <
			MX8MP_IOMUXC_GPIO1_IO02__WDOG1_WDOG_B	0x166
		>;
	};
};

&vpu_g1 {
	status = "okay";
};

&vpu_g2 {
	status = "okay";
};

&vpu_vc8000e {
	status = "okay";
};

&vpu_v4l2 {
	status = "okay";
};

&gpu_3d {
	status = "okay";
};

&gpu_2d {
	status = "okay";
};

&ml_vipsi {
	status = "okay";
};

&mix_gpu_ml {
	status = "okay";
};

&cameradev {
	status = "okay";
};

&isi_0 {
	status = "okay";

	cap_device {
		status = "okay";
	};

	m2m_device {
		status = "okay";
	};
};

&isi_1 {
	status = "disabled";

	cap_device {
		status = "okay";
	};
};
